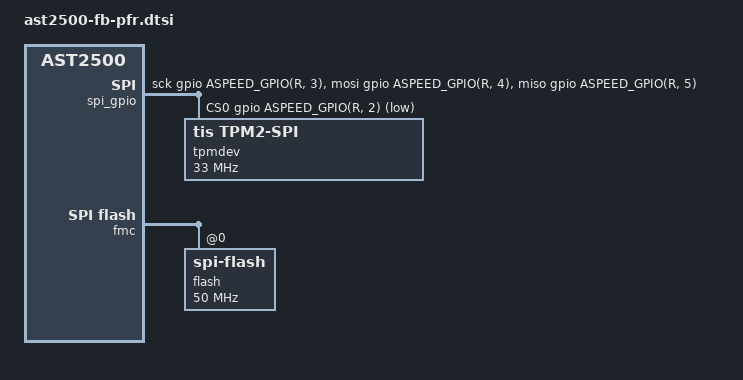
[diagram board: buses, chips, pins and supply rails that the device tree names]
/dts-v1/;

#include <dt-bindings/gpio/aspeed-gpio.h>
#include "ast2500-u-boot.dtsi"

/*
Currently the DRAM, UART, WDT and MAC are setup in platform.S
during lowlevel_init so this dts is empty. need add configuration
when we fully migrate from ast-sdk to upstream u-boot
*/
/ {
	aliases {
		spi0 = &fmc;
	};

	spi_gpio: spi-gpio {
		status = "okay";
		compatible = "spi-gpio";
		#address-cells = <1>;
		#size-cells = <0>;

		gpio-sck = <&gpio ASPEED_GPIO(R, 3) GPIO_ACTIVE_HIGH>;
		gpio-mosi = <&gpio ASPEED_GPIO(R, 4) GPIO_ACTIVE_HIGH>;
		gpio-miso = <&gpio ASPEED_GPIO(R, 5) GPIO_ACTIVE_HIGH>;
		num-chipselects = <1>;
		cs-gpios = <&gpio ASPEED_GPIO(R, 2) GPIO_ACTIVE_LOW>;

		tpmdev@0 {
			compatible = "tis,tpm2-spi";
			spi-max-frequency = <33000000>;
			reg = <0>;
		};
	};
};

&fmc {
	status = "okay";
	flash@0 {
		compatible = "spi-flash";
		status = "okay";
		spi-max-frequency = <50000000>;
		spi-tx-bus-width = <2>;
		spi-rx-bus-width = <2>;
	};
};


